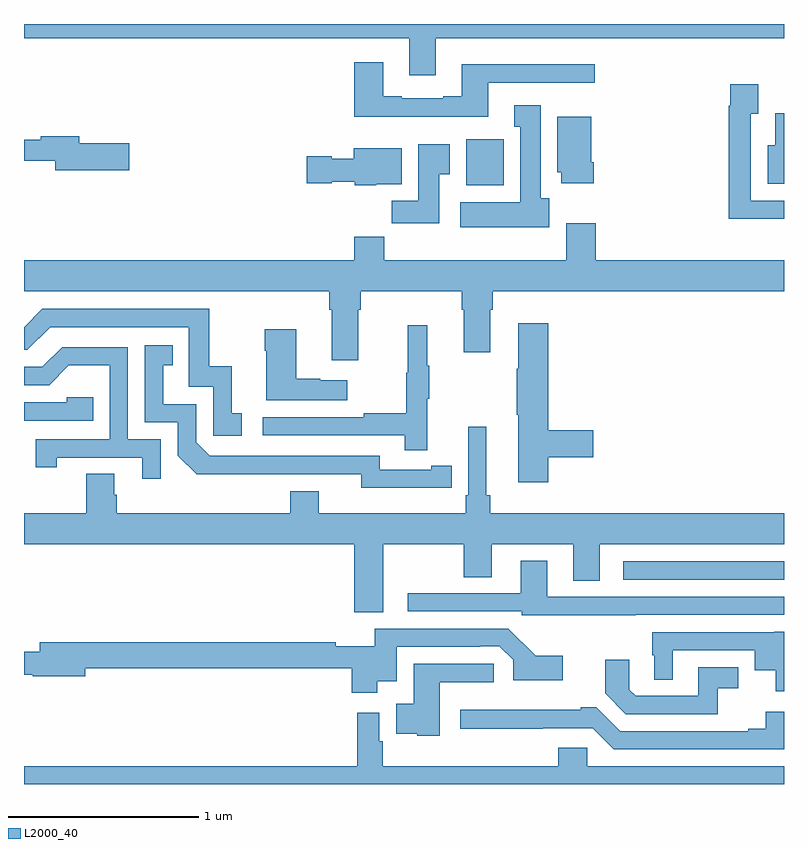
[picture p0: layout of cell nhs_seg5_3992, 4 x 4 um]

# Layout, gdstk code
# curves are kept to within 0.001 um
import gdstk
lib = gdstk.Library(unit=1e-6, precision=1e-09)
def R(c, l, rs):  # rectangles x0, y0, x1, y1
    for r in rs: c.add(gdstk.rectangle(r[:2], r[2:], *l))
def P(c, l, *ps):  # polygons
    for p in ps: c.add(gdstk.Polygon(p, *l))
L2000_40 = (2000, 40)

nhs_seg5_3992 = lib.new_cell('nhs_seg5_3992')
R(nhs_seg5_3992, L2000_40, [(348.153,889.875,349,889.971), (347.327,891.95,347.524,892.192)])
P(nhs_seg5_3992, L2000_40, [(347.167,892.724),(349,892.724),(349,892.799),(345,892.799),(345,892.724),(347.027,892.724),(347.027,892.53),(347.167,892.53)],
  [(347.443,892.491),(348.004,892.491),(348.004,892.588),(347.303,892.588),(347.303,892.42),(347.207,892.42),(347.207,892.407),(346.987,892.407),(346.987,892.42),(346.891,892.42),(346.891,892.597),(346.739,892.597),(346.739,892.31),(347.443,892.31)],
  [(349,891.87),(348.825,891.87),(348.825,892.327),(348.865,892.327),(348.865,892.483),(348.717,892.483),(348.717,892.37),(348.709,892.37),(348.709,891.773),(349,891.773)],
  [(347.764,891.882),(347.719,891.882),(347.719,892.372),(347.579,892.372),(347.579,892.259),(347.612,892.259),(347.612,891.862),(347.295,891.862),(347.295,891.728),(347.764,891.728)],
  [(349,892.33),(348.953,892.33),(348.953,892.162),(348.914,892.162),(348.914,891.959),(349,891.959)],
  [(347.999,892.072),(347.986,892.072),(347.986,892.312),(347.807,892.312),(347.807,892.02),(347.828,892.02),(347.828,891.96),(347.999,891.96)],
  [(345.553,892.172),(345.292,892.172),(345.292,892.208),(345.088,892.208),(345.088,892.189),(345,892.189),(345,892.08),(345.164,892.08),(345.164,892.03),(345.553,892.03)],
  [(347.185,892.009),(347.242,892.009),(347.242,892.165),(347.075,892.165),(347.075,891.868),(346.936,891.868),(346.936,891.75),(347.185,891.75)],
  [(346.854,891.956),(346.987,891.956),(346.987,892.144),(346.736,892.144),(346.736,892.09),(346.62,892.09),(346.62,892.103),(346.488,892.103),(346.488,891.961),(346.62,891.961),(346.62,891.968),(346.74,891.968),(346.74,891.95),(346.854,891.95)],
  [(346.759,891.296),(346.772,891.296),(346.772,891.392),(347.303,891.392),(347.303,891.296),(347.315,891.296),(347.315,891.072),(347.455,891.072),(347.455,891.296),(347.468,891.296),(347.468,891.392),(349,891.392),(349,891.556),(348.008,891.556),(348.008,891.751),(347.855,891.751),(347.855,891.556),(346.895,891.556),(346.895,891.68),(346.739,891.68),(346.739,891.556),(345,891.556),(345,891.392),(346.607,891.392),(346.607,891.296),(346.619,891.296),(346.619,891.03),(346.759,891.03)],
  [(346.147,890.751),(346.094,890.751),(346.094,890.998),(345.976,890.998),(345.976,891.3),(345.096,891.3),(345,891.204),(345,891.084),(345.018,891.084),(345.138,891.204),(345.867,891.204),(345.867,890.889),(345.996,890.889),(345.996,890.631),(346.147,890.631)],
  [(347.759,890.518),(347.995,890.518),(347.995,890.66),(347.759,890.66),(347.759,891.223),(347.6,891.223),(347.6,890.984),(347.593,890.984),(347.593,890.743),(347.6,890.743),(347.6,890.388),(347.759,890.388)],
  [(347.123,890.827),(347.134,890.827),(347.134,891.001),(347.123,891.001),(347.123,891.214),(347.02,891.214),(347.02,890.964),(347.013,890.964),(347.013,890.75),(346.789,890.75),(346.789,890.73),(346.257,890.73),(346.257,890.634),(347.005,890.634),(347.005,890.556),(347.123,890.556)],
  [(346.702,890.923),(346.559,890.923),(346.559,890.933),(346.432,890.933),(346.432,891.193),(346.267,891.193),(346.267,891.08),(346.274,891.08),(346.274,890.819),(346.702,890.819)],
  [(347.144,890.358),(347.252,890.358),(347.252,890.474),(347.144,890.474),(347.144,890.454),(346.872,890.454),(346.872,890.526),(345.978,890.526),(345.906,890.598),(345.906,890.799),(345.733,890.799),(345.733,891.003),(345.782,891.003),(345.782,891.109),(345.636,891.109),(345.636,890.703),(345.81,890.703),(345.81,890.526),(345.908,890.429),(346.776,890.43),(346.776,890.357)],
  [(345.72,890.613),(345.546,890.613),(345.546,891.099),(345.2,891.099),(345.095,890.994),(345,890.994),(345,890.898),(345.132,890.898),(345.236,891.002),(345.45,891.002),(345.45,890.613),(345.061,890.613),(345.061,890.466),(345.172,890.466),(345.172,890.517),(345.623,890.517),(345.623,890.406),(345.72,890.406)],
  [(345.365,890.835),(345.225,890.835),(345.225,890.808),(345,890.808),(345,890.712),(345.365,890.712)],
  [(346.891,890.06),(347.314,890.06),(347.314,889.888),(347.461,889.888),(347.461,890.06),(347.891,890.06),(347.891,889.87),(348.031,889.87),(348.031,890.06),(349,890.06),(349,890.224),(347.453,890.224),(347.453,890.32),(347.434,890.32),(347.434,890.68),(347.337,890.68),(347.337,890.32),(347.324,890.32),(347.324,890.224),(346.552,890.224),(346.552,890.341),(346.4,890.341),(346.4,890.224),(345.488,890.224),(345.488,890.322),(345.475,890.322),(345.475,890.432),(345.328,890.432),(345.328,890.224),(345,890.224),(345,890.06),(346.739,890.06),(346.739,889.702),(346.891,889.702)],
  [(348.221,889.689),(349,889.689),(349,889.785),(347.755,889.785),(347.755,889.975),(347.615,889.975),(347.615,889.803),(347.019,889.803),(347.019,889.707),(347.619,889.707),(347.619,889.688),(348.019,889.688),(348.019,889.687),(348.221,889.687)],
  [(346.858,889.34),(346.962,889.34),(346.962,889.521),(347.402,889.521),(347.402,889.524),(347.502,889.524),(347.574,889.452),(347.574,889.346),(347.836,889.346),(347.836,889.474),(347.694,889.474),(347.623,889.546),(347.621,889.544),(347.548,889.617),(346.846,889.617),(346.846,889.524),(346.64,889.524),(346.64,889.544),(345.083,889.544),(345.083,889.495),(345,889.495),(345,889.373),(345.046,889.373),(345.046,889.366),(345.322,889.366),(345.322,889.408),(346.724,889.408),(346.724,889.278),(346.858,889.278)],
  [(349,889.6),(348.949,889.6),(348.949,889.599),(348.306,889.599),(348.306,889.476),(348.317,889.476),(348.317,889.348),(348.415,889.348),(348.415,889.503),(348.845,889.503),(348.845,889.397),(348.956,889.397),(348.956,889.286),(349,889.286)],
  [(348.65,889.304),(348.76,889.304),(348.76,889.414),(348.548,889.414),(348.548,889.263),(348.219,889.263),(348.186,889.296),(348.186,889.453),(348.06,889.453),(348.06,889.276),(348.168,889.167),(348.65,889.167)],
  [(347.188,889.334),(347.473,889.334),(347.473,889.431),(347.051,889.431),(347.051,889.222),(346.958,889.222),(346.958,889.064),(347.07,889.064),(347.07,889.052),(347.188,889.052)],
  [(349,889.179),(348.904,889.179),(348.904,889.09),(348.812,889.09),(348.812,889.077),(348.138,889.077),(348.011,889.204),(347.93,889.204),(347.93,889.189),(347.295,889.189),(347.295,889.091),(347.994,889.092),(348.105,888.981),(349,888.981)],
  [(349,888.892),(347.964,888.892),(347.964,888.99),(347.813,888.99),(347.813,888.892),(346.888,888.892),(346.888,889.025),(346.869,889.025),(346.869,889.174),(346.753,889.174),(346.753,888.892),(345,888.892),(345,888.799),(349,888.799)])

lib.write_gds('nhs_seg5_3992.gds')
